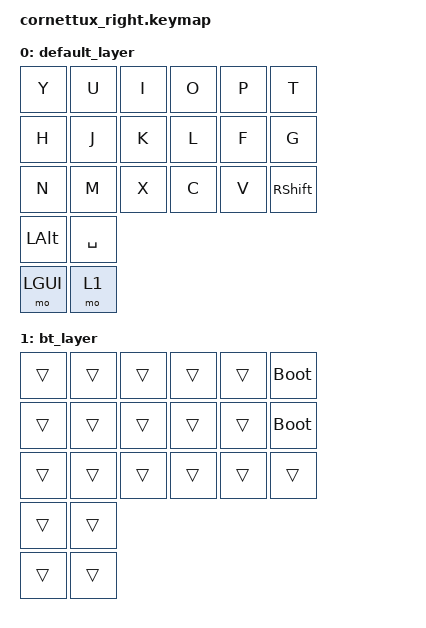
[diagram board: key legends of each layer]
#include <behaviors.dtsi>
#include <dt-bindings/zmk/keys.h>
#include <dt-bindings/zmk/bt.h>

/ {
    keymap {
        compatible = "zmk,keymap";

        default_layer {
            bindings = <
                &kp Y    &kp U  &kp I &kp O &kp P &kp T
                &kp H    &kp J  &kp K &kp L &kp F &kp G
                &kp N    &kp M  &kp X &kp C &kp V &kp RSHFT
                &kp LALT &kp SPACE
                &mo LGUI &mo 1
            >;
        };

        bt_layer {
            bindings = <
                &trans &trans &trans &trans &trans &bootloader
                &trans &trans &trans &trans &trans &bootloader
                &trans &trans &trans &trans &trans &trans
                &trans &trans
                &trans &trans
            >;
        };
    };
};
